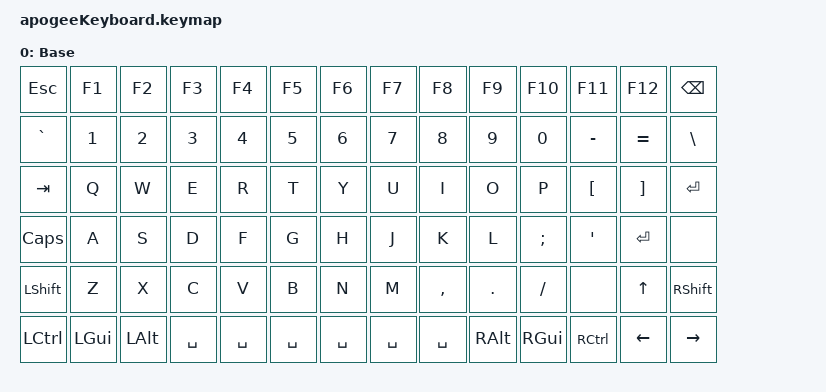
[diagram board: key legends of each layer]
#include <behaviors.dtsi>
#include <dt-bindings/zmk/keys.h>

/ {
    keymap {
        compatible = "zmk,keymap";

        default_layer {
            label = "Base";
            bindings = <
                // ROW 0 (14 keys)
                &kp ESC   &kp F1    &kp F2    &kp F3    &kp F4    &kp F5    &kp F6    &kp F7    &kp F8    &kp F9    &kp F10   &kp F11   &kp F12    &kp BSPC

                // ROW 1 (14 keys)
                &kp GRAVE &kp N1    &kp N2    &kp N3    &kp N4    &kp N5    &kp N6    &kp N7    &kp N8    &kp N9    &kp N0    &kp MINUS &kp EQUAL &kp BSLH

                // ROW 2 (14 keys)
                &kp TAB   &kp Q     &kp W     &kp E     &kp R     &kp T     &kp Y     &kp U     &kp I     &kp O     &kp P     &kp LBKT  &kp RBKT  &kp RET

                // ROW 3 (14 keys)
                &kp CAPS  &kp A     &kp S     &kp D     &kp F     &kp G     &kp H     &kp J     &kp K     &kp L     &kp SEMI  &kp SQT   &kp RET   &none

                // ROW 4 (14 keys)
                &kp LSHFT &kp Z     &kp X     &kp C     &kp V     &kp B     &kp N     &kp M     &kp COMMA &kp DOT   &kp FSLH  &none     &kp UP    &kp RSHFT

                // ROW 5 (14 keys)
                &kp LCTRL &kp LGUI  &kp LALT  &kp SPACE &kp SPACE &kp SPACE &kp SPACE &kp SPACE &kp SPACE &kp RALT  &kp RGUI  &kp RCTRL &kp LEFT  &kp RIGHT
            >;
        };
    };
};
